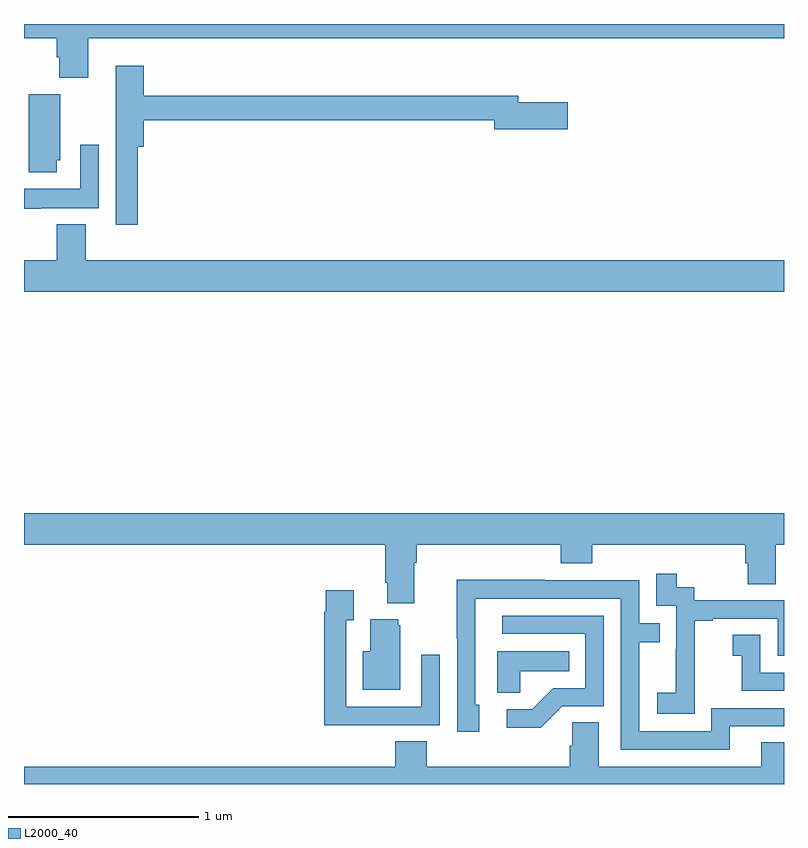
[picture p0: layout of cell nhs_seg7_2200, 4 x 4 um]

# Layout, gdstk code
import gdstk
lib = gdstk.Library(unit=1e-6, precision=1e-09)
def P(c, l, *ps):  # polygons
    for p in ps: c.add(gdstk.Polygon(p, *l))
L2000_40 = (2000, 40)

nhs_seg7_2200 = lib.new_cell('nhs_seg7_2200')
P(nhs_seg7_2200, L2000_40, [(255.338,1025.924),(259,1025.924),(259,1026),(255,1026),(255,1025.924),(255.173,1025.924),(255.173,1025.825),(255.185,1025.825),(255.185,1025.716),(255.338,1025.716)],
  [(255.599,1025.354),(255.629,1025.354),(255.629,1025.494),(257.474,1025.494),(257.474,1025.447),(257.863,1025.447),(257.863,1025.589),(257.602,1025.589),(257.602,1025.623),(255.629,1025.623),(255.629,1025.779),(255.482,1025.779),(255.482,1025.517),(255.483,1025.517),(255.483,1024.944),(255.599,1024.944)],
  [(255.172,1025.283),(255.19,1025.283),(255.19,1025.631),(255.026,1025.631),(255.026,1025.22),(255.172,1025.22)],
  [(255.089,1025.03),(255.393,1025.03),(255.393,1025.365),(255.297,1025.365),(255.297,1025.134),(255,1025.134),(255,1025.028),(255.089,1025.028)],
  [(259,1024.756),(255.325,1024.756),(255.325,1024.945),(255.173,1024.945),(255.173,1024.756),(255,1024.756),(255,1024.592),(259,1024.592)],
  [(257.053,1023.164),(257.066,1023.164),(257.066,1023.26),(257.825,1023.26),(257.825,1023.161),(257.99,1023.161),(257.99,1023.26),(258.797,1023.26),(258.797,1023.162),(258.809,1023.162),(258.809,1023.052),(258.957,1023.052),(258.957,1023.26),(259,1023.26),(259,1023.424),(255,1023.424),(255,1023.26),(256.901,1023.26),(256.901,1023.058),(256.913,1023.058),(256.913,1022.951),(257.053,1022.951)],
  [(258.531,1022.575),(258.529,1022.575),(258.529,1022.859),(258.625,1022.859),(258.625,1022.871),(258.966,1022.871),(258.966,1022.676),(259,1022.676),(259,1022.967),(258.528,1022.967),(258.528,1023.036),(258.436,1023.036),(258.436,1023.106),(258.327,1023.106),(258.327,1022.937),(258.432,1022.937),(258.432,1022.708),(258.431,1022.708),(258.431,1022.479),(258.333,1022.479),(258.333,1022.369),(258.531,1022.369)],
  [(258.715,1022.304),(259,1022.304),(259,1022.4),(258.618,1022.4),(258.618,1022.277),(258.237,1022.277),(258.237,1022.746),(258.347,1022.746),(258.347,1022.847),(258.237,1022.847),(258.237,1023.072),(257.741,1023.072),(257.741,1023.074),(257.278,1023.074),(257.278,1022.767),(257.28,1022.767),(257.28,1022.274),(257.395,1022.274),(257.395,1022.418),(257.376,1022.418),(257.376,1022.976),(258.141,1022.976),(258.141,1022.181),(258.715,1022.181)],
  [(256.871,1022.31),(257.187,1022.31),(257.187,1022.68),(257.091,1022.68),(257.091,1022.406),(256.695,1022.406),(256.695,1022.863),(256.735,1022.863),(256.735,1023.019),(256.587,1023.019),(256.587,1022.906),(256.579,1022.906),(256.579,1022.309),(256.871,1022.309)],
  [(257.832,1022.409),(258.051,1022.409),(258.051,1022.886),(257.517,1022.886),(257.517,1022.79),(257.955,1022.79),(257.955,1022.505),(257.786,1022.505),(257.675,1022.394),(257.541,1022.394),(257.541,1022.297),(257.719,1022.297)],
  [(256.981,1022.835),(256.97,1022.835),(256.97,1022.866),(256.823,1022.866),(256.823,1022.698),(256.784,1022.698),(256.784,1022.495),(256.981,1022.495)],
  [(259,1022.586),(258.876,1022.586),(258.876,1022.785),(258.729,1022.785),(258.729,1022.675),(258.778,1022.675),(258.778,1022.49),(259,1022.49)],
  [(257.613,1022.594),(257.87,1022.594),(257.87,1022.698),(257.492,1022.698),(257.492,1022.479),(257.613,1022.479)],
  [(259,1022.219),(258.881,1022.219),(258.881,1022.092),(258.025,1022.092),(258.025,1022.324),(257.886,1022.324),(257.886,1022.201),(257.873,1022.201),(257.873,1022.092),(257.12,1022.092),(257.12,1022.225),(256.955,1022.225),(256.955,1022.092),(255,1022.092),(255,1022),(259,1022)])

lib.write_gds('nhs_seg7_2200.gds')
